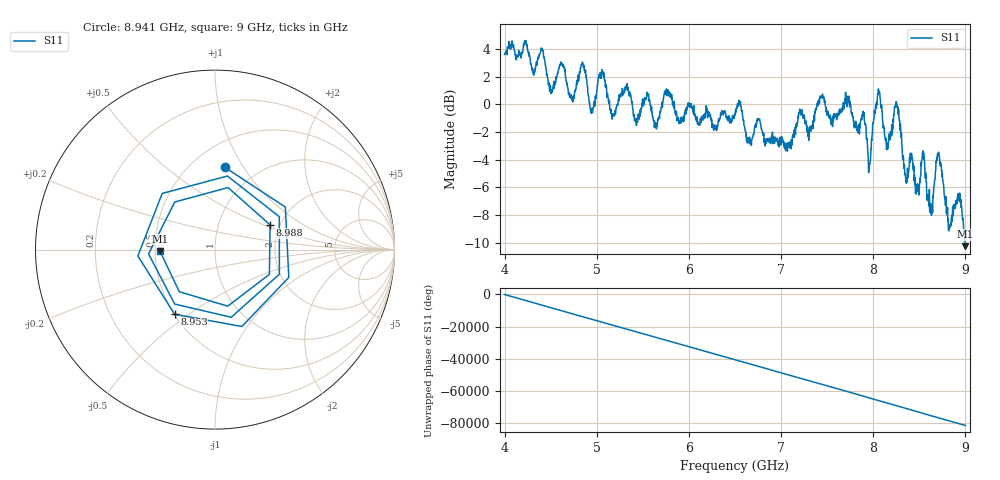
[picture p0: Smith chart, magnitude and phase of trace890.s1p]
! Created with skrf 1.8.0 (http://scikit-rf.org).
# Hz S RI R 50.0
!freq ReS11 ImS11
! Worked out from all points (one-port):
!   1601 points, 4 GHz to 9 GHz, reference 50 ohm
!   lowest |S11| = -10.2 dB at 9 GHz (marker M1), VSWR 1.89, Z = 26.5 - j0.426 ohm
!   |S11| at or under -10 dB: 8.995309 GHz to end of sweep
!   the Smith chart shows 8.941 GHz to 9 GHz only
!   S11 on the Smith chart (normalised r, x): 8.941 GHz: 0.71, +0.83; 8.953 GHz: 0.50, -0.44; 8.988 GHz: 1.78, +0.55; 9 GHz: 0.53, -0.01
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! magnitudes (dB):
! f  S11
! 4 GHz  3.6
! 4.406 GHz  4.0
! 4.509 GHz  1.0
! 4.625 GHz  2.9
! 4.731 GHz  0.5
! 4.847 GHz  2.9
! 4.941 GHz  -0.6
! 5.047 GHz  2.2
! 5.166 GHz  -1.1
! 5.25 GHz  0.6
! 5.875 GHz  -1.0
! 6.5 GHz  -0.8
! 7.125 GHz  -2.2
! 7.441 GHz  0.6
! 7.75 GHz  0.2
! 7.959 GHz  -4.4
! 8.05 GHz  0.8
! 8.15 GHz  -3.0
! 8.253 GHz  0.1
! 8.375 GHz  -5.3
! 8.544 GHz  -3.6
! 8.619 GHz  -7.6
! 8.706 GHz  -3.7
! 8.819 GHz  -9.1
! 8.941 GHz  -6.7
! 8.953 GHz  -7.4
! 8.988 GHz  -9.5
! 9 GHz  -10.2
